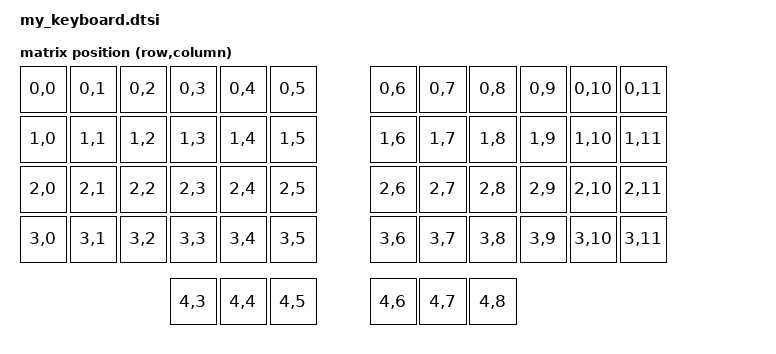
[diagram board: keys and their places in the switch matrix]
#include <dt-bindings/zmk/matrix_transform.h>
#include <physical_layouts.dtsi>

/ {
    chosen {
        zmk,kscan = &kscan0;
        zmk,physical-layout = &physical_layout0;
    };

    default_transform: keymap_transform0 {
        compatible = "zmk,matrix-transform";
        columns = <12>;
        rows = <5>;
        map = <
        /* Row 0: 12 keys */
        RC(0,0) RC(0,1) RC(0,2) RC(0,3) RC(0,4) RC(0,5)    RC(0,6) RC(0,7) RC(0,8) RC(0,9) RC(0,10) RC(0,11)
        /* Row 1: 12 keys */
        RC(1,0) RC(1,1) RC(1,2) RC(1,3) RC(1,4) RC(1,5)    RC(1,6) RC(1,7) RC(1,8) RC(1,9) RC(1,10) RC(1,11)
        /* Row 2: 12 keys */
        RC(2,0) RC(2,1) RC(2,2) RC(2,3) RC(2,4) RC(2,5)    RC(2,6) RC(2,7) RC(2,8) RC(2,9) RC(2,10) RC(2,11)
        /* Row 3: 12 keys */
        RC(3,0) RC(3,1) RC(3,2) RC(3,3) RC(3,4) RC(3,5)    RC(3,6) RC(3,7) RC(3,8) RC(3,9) RC(3,10) RC(3,11)
        /* Row 4: 6 thumb keys (3 per side) */
                                RC(4,3) RC(4,4) RC(4,5)    RC(4,6) RC(4,7) RC(4,8)
        >;
    };

    kscan0: kscan0 {
        compatible = "zmk,kscan-gpio-matrix";
        diode-direction = "col2row";
        wakeup-source;
    };

    physical_layout0: physical_layout_0 {
        compatible = "zmk,physical-layout";
        display-name = "Default Layout";
        transform = <&default_transform>;

        keys  //                     w   h    x    y     rot   rx   ry
            = <&key_physical_attrs 100 100    0    0       0    0    0>  /* R0C0  ESC       */
            , <&key_physical_attrs 100 100  100    0       0    0    0>  /* R0C1  Q         */
            , <&key_physical_attrs 100 100  200    0       0    0    0>  /* R0C2  W         */
            , <&key_physical_attrs 100 100  300    0       0    0    0>  /* R0C3  E         */
            , <&key_physical_attrs 100 100  400    0       0    0    0>  /* R0C4  R         */
            , <&key_physical_attrs 100 100  500    0       0    0    0>  /* R0C5  T         */
            , <&key_physical_attrs 100 100  700    0       0    0    0>  /* R0C6  Y         */
            , <&key_physical_attrs 100 100  800    0       0    0    0>  /* R0C7  U         */
            , <&key_physical_attrs 100 100  900    0       0    0    0>  /* R0C8  I         */
            , <&key_physical_attrs 100 100 1000    0       0    0    0>  /* R0C9  O         */
            , <&key_physical_attrs 100 100 1100    0       0    0    0>  /* R0C10 P         */
            , <&key_physical_attrs 100 100 1200    0       0    0    0>  /* R0C11 BSPC      */
            , <&key_physical_attrs 100 100    0  100       0    0    0>  /* R1C0  TAB       */
            , <&key_physical_attrs 100 100  100  100       0    0    0>  /* R1C1  A         */
            , <&key_physical_attrs 100 100  200  100       0    0    0>  /* R1C2  S         */
            , <&key_physical_attrs 100 100  300  100       0    0    0>  /* R1C3  D         */
            , <&key_physical_attrs 100 100  400  100       0    0    0>  /* R1C4  F         */
            , <&key_physical_attrs 100 100  500  100       0    0    0>  /* R1C5  G         */
            , <&key_physical_attrs 100 100  700  100       0    0    0>  /* R1C6  H         */
            , <&key_physical_attrs 100 100  800  100       0    0    0>  /* R1C7  J         */
            , <&key_physical_attrs 100 100  900  100       0    0    0>  /* R1C8  K         */
            , <&key_physical_attrs 100 100 1000  100       0    0    0>  /* R1C9  L         */
            , <&key_physical_attrs 100 100 1100  100       0    0    0>  /* R1C10 SEMI      */
            , <&key_physical_attrs 100 100 1200  100       0    0    0>  /* R1C11 SQT       */
            , <&key_physical_attrs 100 100    0  200       0    0    0>  /* R2C0  LSHFT     */
            , <&key_physical_attrs 100 100  100  200       0    0    0>  /* R2C1  Z         */
            , <&key_physical_attrs 100 100  200  200       0    0    0>  /* R2C2  X         */
            , <&key_physical_attrs 100 100  300  200       0    0    0>  /* R2C3  C         */
            , <&key_physical_attrs 100 100  400  200       0    0    0>  /* R2C4  V         */
            , <&key_physical_attrs 100 100  500  200       0    0    0>  /* R2C5  B         */
            , <&key_physical_attrs 100 100  700  200       0    0    0>  /* R2C6  N         */
            , <&key_physical_attrs 100 100  800  200       0    0    0>  /* R2C7  M         */
            , <&key_physical_attrs 100 100  900  200       0    0    0>  /* R2C8  COMMA     */
            , <&key_physical_attrs 100 100 1000  200       0    0    0>  /* R2C9  DOT       */
            , <&key_physical_attrs 100 100 1100  200       0    0    0>  /* R2C10 FSLH      */
            , <&key_physical_attrs 100 100 1200  200       0    0    0>  /* R2C11 RSHFT     */
            , <&key_physical_attrs 100 100    0  300       0    0    0>  /* R3C0  LCTRL     */
            , <&key_physical_attrs 100 100  100  300       0    0    0>  /* R3C1  LGUI      */
            , <&key_physical_attrs 100 100  200  300       0    0    0>  /* R3C2  LALT      */
            , <&key_physical_attrs 100 100  300  300       0    0    0>  /* R3C3  MINUS     */
            , <&key_physical_attrs 100 100  400  300       0    0    0>  /* R3C4  EQUAL     */
            , <&key_physical_attrs 100 100  500  300       0    0    0>  /* R3C5  LBKT      */
            , <&key_physical_attrs 100 100  700  300       0    0    0>  /* R3C6  RBKT      */
            , <&key_physical_attrs 100 100  800  300       0    0    0>  /* R3C7  BSLH      */
            , <&key_physical_attrs 100 100  900  300       0    0    0>  /* R3C8  GRAVE     */
            , <&key_physical_attrs 100 100 1000  300       0    0    0>  /* R3C9  RALT      */
            , <&key_physical_attrs 100 100 1100  300       0    0    0>  /* R3C10 RGUI      */
            , <&key_physical_attrs 100 100 1200  300       0    0    0>  /* R3C11 RCTRL     */
            , <&key_physical_attrs 100 100  300  425       0    0    0>  /* R4C3  MO 1      */
            , <&key_physical_attrs 100 100  400  425       0    0    0>  /* R4C4  SPACE     */
            , <&key_physical_attrs 100 100  500  425       0    0    0>  /* R4C5  RET       */
            , <&key_physical_attrs 100 100  700  425       0    0    0>  /* R4C6  RET       */
            , <&key_physical_attrs 100 100  800  425       0    0    0>  /* R4C7  SPACE     */
            , <&key_physical_attrs 100 100  900  425       0    0    0>  /* R4C8  MO 1      */
            ;
    };
};
